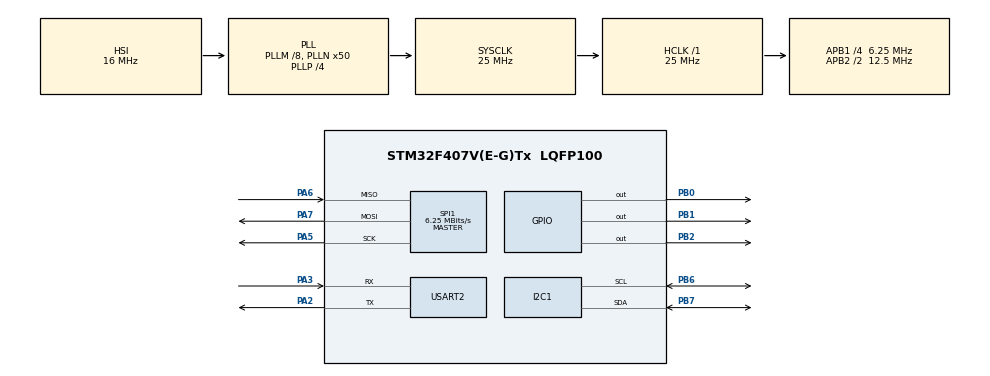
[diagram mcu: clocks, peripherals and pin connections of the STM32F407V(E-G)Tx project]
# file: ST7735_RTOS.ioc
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FREERTOS.Tasks01=defaultTask,24,128,StartDefaultTask,Default,NULL,Dynamic,NULL,NULL
FREERTOS.configUSE_NEWLIB_REENTRANT=1
Mcu.Family=STM32F4
Mcu.Name=STM32F407V(E-G)Tx
Mcu.Package=LQFP100
NVIC.PriorityGroup=NVIC_PRIORITYGROUP_4
NVIC.TIM6_DAC_IRQn=true\:15\:0\:false\:false\:true\:false\:false\:true\:true
NVIC.TimeBase=TIM6_DAC_IRQn
NVIC.TimeBaseIP=TIM6
PA2.Mode=Asynchronous
PA2.Signal=USART2_TX
PA3.Mode=Asynchronous
PA3.Signal=USART2_RX
PA5.Mode=Full_Duplex_Master
PA5.Signal=SPI1_SCK
PA6.Mode=Full_Duplex_Master
PA6.Signal=SPI1_MISO
PA7.Mode=Full_Duplex_Master
PA7.Signal=SPI1_MOSI
PB0.Signal=GPIO_Output
PB1.Signal=GPIO_Output
PB2.Signal=GPIO_Output
PB6.Mode=I2C
PB6.Signal=I2C1_SCL
PB7.Mode=I2C
PB7.Signal=I2C1_SDA
ProjectManager.HeapSize=0x200
ProjectManager.StackSize=0x400
ProjectManager.TargetToolchain=STM32CubeIDE
RCC.48MHZClocksFreq_Value=14285714.285714285
RCC.AHBFreq_Value=25000000
RCC.APB1CLKDivider=RCC_HCLK_DIV4
RCC.APB1Freq_Value=6250000
RCC.APB1TimFreq_Value=12500000
RCC.APB2CLKDivider=RCC_HCLK_DIV2
RCC.APB2Freq_Value=12500000
RCC.APB2TimFreq_Value=25000000
RCC.CortexFreq_Value=25000000
RCC.HCLKFreq_Value=25000000
RCC.HSE_VALUE=8000000
RCC.HSI_VALUE=16000000
RCC.LSE_VALUE=32768
RCC.PLLM=8
RCC.PLLN=50
RCC.PLLP=RCC_PLLP_DIV4
RCC.PLLQ=7
RCC.SYSCLKFreq_VALUE=25000000
RCC.SYSCLKSource=RCC_SYSCLKSOURCE_PLLCLK
RCC.VCOOutputFreq_Value=100000000
SPI1.BaudRatePrescaler=SPI_BAUDRATEPRESCALER_2
SPI1.CalculateBaudRate=6.25 MBits/s
SPI1.Direction=SPI_DIRECTION_2LINES
SPI1.Mode=SPI_MODE_MASTER
SPI1.VirtualType=VM_MASTER
USART2.VirtualMode=VM_ASYNC
VP_FREERTOS_VS_CMSIS_V2.Mode=CMSIS_V2
VP_SYS_VS_tim6.Mode=TIM6
board=STM32F407G-DISC1

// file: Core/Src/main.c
/* USER CODE BEGIN Header */
/**
  ******************************************************************************
  * @file           : main.c
  * @brief          : Main program body
  ******************************************************************************
  * @attention
  *
  * Copyright (c) 2026 STMicroelectronics.
  * All rights reserved.
  *
  * This software is licensed under terms that can be found in the LICENSE file
  * in the root directory of this software component.
  * If no LICENSE file comes with this software, it is provided AS-IS.
  *
  ******************************************************************************
  */
/* USER CODE END Header */
#include "main.h"
#include "cmsis_os.h"

/* USER CODE BEGIN Includes */
#include <stdio.h>
#include <string.h>

#include "FreeRTOS.h"
#include "task.h"
#include "queue.h"
#include "font.h"
#include "mlx90614.h"
#include "st7735.h"     // Replaces character lcd.h with ST7735 SPI Display driver
#include "temperture.h" // Holds TemperatureData_t struct definition

TaskHandle_t TFTTaskHandle = NULL;

/* USER CODE END Includes */

I2C_HandleTypeDef hi2c1;

SPI_HandleTypeDef hspi1;

UART_HandleTypeDef huart2;

/* Definitions for defaultTask */
osThreadId_t defaultTaskHandle;
const osThreadAttr_t defaultTask_attributes = {
  .name = "defaultTask",
  .stack_size = 128 * 4,
  .priority = (osPriority_t) osPriorityNormal,
};
/* USER CODE BEGIN PV */
QueueHandle_t xTFTQueue;
QueueHandle_t xUARTQueue;
/* USER CODE END PV */

void SystemClock_Config(void);
static void MX_GPIO_Init(void);
static void MX_SPI1_Init(void);
static void MX_USART2_UART_Init(void);
static void MX_I2C1_Init(void);
void StartDefaultTask(void *argument);

/* USER CODE BEGIN 0 */
void vTFTTask(void *pvParam)
{
    TemperatureData_t tempData;
    char strBuf[32];

    ST7735_Init(&hspi1);
    ST7735_FillScreen(ST7735_BLACK);

    while(1)
    {
        if (xQueueReceive(xTFTQueue, &tempData, portMAX_DELAY) == pdTRUE)
        {
            snprintf(strBuf, sizeof(strBuf), "OBJ: %.2f C", tempData.objectTemp);
            ST7735_WriteString(5, 30, strBuf, Font_8x12, ST7735_BLUE, ST7735_BLACK);

            snprintf(strBuf, sizeof(strBuf), "AMB: %.2f C", tempData.ambientTemp);
            ST7735_WriteString(5, 50, strBuf, Font_8x12, ST7735_GREEN, ST7735_BLACK);
        }
    }
}

void vTemperatureTask(void *pvParam)
{
    TemperatureData_t tempData;

    while(1)
    {
        tempData.objectTemp = MLX90614_ReadObjectTemp();
        tempData.ambientTemp = MLX90614_ReadAmbientTemp();

        // Send to Display and UART queues
        xQueueSend(xTFTQueue, &tempData, portMAX_DELAY);
        xQueueSend(xUARTQueue, &tempData, portMAX_DELAY);

        vTaskDelay(pdMS_TO_TICKS(1000));
    }
}

void vUARTTask(void *pvParam)
{
    TemperatureData_t tempData;
    char txBuffer[64];

    while(1)
    {
        if (xQueueReceive(xUARTQueue, &tempData, portMAX_DELAY) == pdTRUE)
        {
            snprintf(txBuffer, sizeof(txBuffer), "TEMP:%.2f,AMB:%.2f\r\n",
                     tempData.objectTemp, tempData.ambientTemp);

            HAL_UART_Transmit(&huart2, (uint8_t *)txBuffer, strlen(txBuffer), HAL_MAX_DELAY);
        }
    }
}
/* USER CODE END 0 */

int main(void)
{

  /* MCU Configuration--------------------------------------------------------*/

  /* Reset of all peripherals, Initializes the Flash interface and the Systick. */
  HAL_Init();

  /* Configure the system clock */
  SystemClock_Config();

  /* Initialize all configured peripherals */
  MX_GPIO_Init();
  MX_SPI1_Init();
  MX_USART2_UART_Init();
  MX_I2C1_Init();

  /* Init scheduler */
  osKernelInitialize();

  /* USER CODE BEGIN RTOS_QUEUES */
  xTFTQueue = xQueueCreate(5, sizeof(TemperatureData_t));
    xUARTQueue = xQueueCreate(5, sizeof(TemperatureData_t));
  /* USER CODE END RTOS_QUEUES */

  /* Create the thread(s) */
  /* creation of defaultTask */
  defaultTaskHandle = osThreadNew(StartDefaultTask, NULL, &defaultTask_attributes);

  /* USER CODE BEGIN RTOS_THREADS */
  xTaskCreate(vTemperatureTask, "TempTask", 256, NULL, 5, NULL);
    xTaskCreate(vTFTTask,         "TFTTask",  512, NULL, 3, NULL);
    xTaskCreate(vUARTTask,        "UARTTask", 256, NULL, 4, NULL);
  /* USER CODE END RTOS_THREADS */

  /* Start scheduler */
  osKernelStart();

  /* We should never get here as control is now taken by the scheduler */

  /* Infinite loop */
  while (1)
  {

  }
}

void SystemClock_Config(void)
{
  RCC_OscInitTypeDef RCC_OscInitStruct = {0};
  RCC_ClkInitTypeDef RCC_ClkInitStruct = {0};

  /** Configure the main internal regulator output voltage
  */
  __HAL_RCC_PWR_CLK_ENABLE();
  __HAL_PWR_VOLTAGESCALING_CONFIG(PWR_REGULATOR_VOLTAGE_SCALE1);

  /** Initializes the RCC Oscillators according to the specified parameters
  * in the RCC_OscInitTypeDef structure.
  */
  RCC_OscInitStruct.OscillatorType = RCC_OSCILLATORTYPE_HSI;
  RCC_OscInitStruct.HSIState = RCC_HSI_ON;
  RCC_OscInitStruct.HSICalibrationValue = RCC_HSICALIBRATION_DEFAULT;
  RCC_OscInitStruct.PLL.PLLState = RCC_PLL_ON;
  RCC_OscInitStruct.PLL.PLLSource = RCC_PLLSOURCE_HSI;
  RCC_OscInitStruct.PLL.PLLM = 8;
  RCC_OscInitStruct.PLL.PLLN = 50;
  RCC_OscInitStruct.PLL.PLLP = RCC_PLLP_DIV4;
  RCC_OscInitStruct.PLL.PLLQ = 7;
  if (HAL_RCC_OscConfig(&RCC_OscInitStruct) != HAL_OK)
  {
    Error_Handler();
  }

  /** Initializes the CPU, AHB and APB buses clocks
  */
  RCC_ClkInitStruct.ClockType = RCC_CLOCKTYPE_HCLK|RCC_CLOCKTYPE_SYSCLK
                              |RCC_CLOCKTYPE_PCLK1|RCC_CLOCKTYPE_PCLK2;
  RCC_ClkInitStruct.SYSCLKSource = RCC_SYSCLKSOURCE_PLLCLK;
  RCC_ClkInitStruct.AHBCLKDivider = RCC_SYSCLK_DIV1;
  RCC_ClkInitStruct.APB1CLKDivider = RCC_HCLK_DIV4;
  RCC_ClkInitStruct.APB2CLKDivider = RCC_HCLK_DIV2;

  if (HAL_RCC_ClockConfig(&RCC_ClkInitStruct, FLASH_LATENCY_0) != HAL_OK)
  {
    Error_Handler();
  }
}

static void MX_I2C1_Init(void)
{

  hi2c1.Instance = I2C1;
  hi2c1.Init.ClockSpeed = 100000;
  hi2c1.Init.DutyCycle = I2C_DUTYCYCLE_2;
  hi2c1.Init.OwnAddress1 = 0;
  hi2c1.Init.AddressingMode = I2C_ADDRESSINGMODE_7BIT;
  hi2c1.Init.DualAddressMode = I2C_DUALADDRESS_DISABLE;
  hi2c1.Init.OwnAddress2 = 0;
  hi2c1.Init.GeneralCallMode = I2C_GENERALCALL_DISABLE;
  hi2c1.Init.NoStretchMode = I2C_NOSTRETCH_DISABLE;
  if (HAL_I2C_Init(&hi2c1) != HAL_OK)
  {
    Error_Handler();
  }

}

static void MX_SPI1_Init(void)
{

  /* SPI1 parameter configuration*/
  hspi1.Instance = SPI1;
  hspi1.Init.Mode = SPI_MODE_MASTER;
  hspi1.Init.Direction = SPI_DIRECTION_2LINES;
  hspi1.Init.DataSize = SPI_DATASIZE_8BIT;
  hspi1.Init.CLKPolarity = SPI_POLARITY_LOW;
  hspi1.Init.CLKPhase = SPI_PHASE_1EDGE;
  hspi1.Init.NSS = SPI_NSS_SOFT;
  hspi1.Init.BaudRatePrescaler = SPI_BAUDRATEPRESCALER_2;
  hspi1.Init.FirstBit = SPI_FIRSTBIT_MSB;
  hspi1.Init.TIMode = SPI_TIMODE_DISABLE;
  hspi1.Init.CRCCalculation = SPI_CRCCALCULATION_DISABLE;
  hspi1.Init.CRCPolynomial = 10;
  if (HAL_SPI_Init(&hspi1) != HAL_OK)
  {
    Error_Handler();
  }

}

static void MX_USART2_UART_Init(void)
{

  huart2.Instance = USART2;
  huart2.Init.BaudRate = 115200;
  huart2.Init.WordLength = UART_WORDLENGTH_8B;
  huart2.Init.StopBits = UART_STOPBITS_1;
  huart2.Init.Parity = UART_PARITY_NONE;
  huart2.Init.Mode = UART_MODE_TX_RX;
  huart2.Init.HwFlowCtl = UART_HWCONTROL_NONE;
  huart2.Init.OverSampling = UART_OVERSAMPLING_16;
  if (HAL_UART_Init(&huart2) != HAL_OK)
  {
    Error_Handler();
  }

}

static void MX_GPIO_Init(void)
{
  GPIO_InitTypeDef GPIO_InitStruct = {0};

  /* GPIO Ports Clock Enable */
  __HAL_RCC_GPIOA_CLK_ENABLE();
  __HAL_RCC_GPIOB_CLK_ENABLE();

  /*Configure GPIO pin Output Level */
  HAL_GPIO_WritePin(GPIOB, GPIO_PIN_0|GPIO_PIN_1|GPIO_PIN_2, GPIO_PIN_RESET);

  /*Configure GPIO pins : PB0 PB1 PB2 */
  GPIO_InitStruct.Pin = GPIO_PIN_0|GPIO_PIN_1|GPIO_PIN_2;
  GPIO_InitStruct.Mode = GPIO_MODE_OUTPUT_PP;
  GPIO_InitStruct.Pull = GPIO_NOPULL;
  GPIO_InitStruct.Speed = GPIO_SPEED_FREQ_LOW;
  HAL_GPIO_Init(GPIOB, &GPIO_InitStruct);

}

void StartDefaultTask(void *argument)
{
  for(;;)
  {
    osDelay(1);
  }
}

void HAL_TIM_PeriodElapsedCallback(TIM_HandleTypeDef *htim)
{
  if (htim->Instance == TIM6)
  {
    HAL_IncTick();
  }
}

void Error_Handler(void)
{
  __disable_irq();
  while (1)
  {
  }
}
